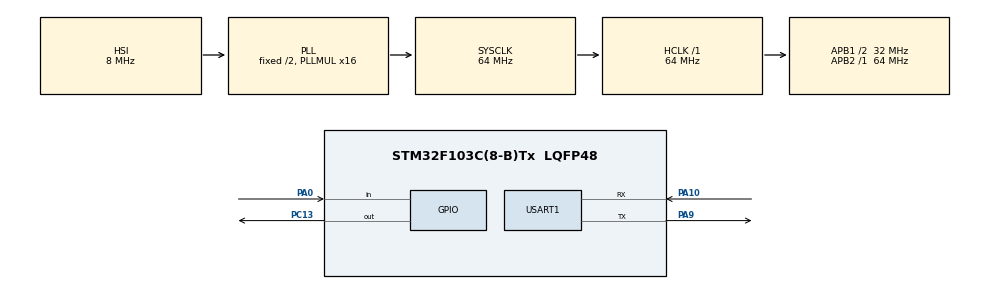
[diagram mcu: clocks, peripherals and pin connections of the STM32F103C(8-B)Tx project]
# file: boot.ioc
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Mcu.Family=STM32F1
Mcu.Name=STM32F103C(8-B)Tx
Mcu.Package=LQFP48
NVIC.PriorityGroup=NVIC_PRIORITYGROUP_4
NVIC.USART1_IRQn=true\:0\:0\:false\:false\:true\:true\:true\:true
PA0-WKUP.GPIO_PuPd=GPIO_PULLUP
PA0-WKUP.Signal=GPIO_Input
PA10.Mode=Asynchronous
PA10.Signal=USART1_RX
PA13.Mode=Serial_Wire
PA13.Signal=SYS_JTMS-SWDIO
PA14.Mode=Serial_Wire
PA14.Signal=SYS_JTCK-SWCLK
PA9.Mode=Asynchronous
PA9.Signal=USART1_TX
PC13-TAMPER-RTC.Signal=GPIO_Output
PD0-OSC_IN.Mode=HSE-External-Oscillator
PD0-OSC_IN.Signal=RCC_OSC_IN
PD1-OSC_OUT.Mode=HSE-External-Oscillator
PD1-OSC_OUT.Signal=RCC_OSC_OUT
ProjectManager.HeapSize=0x200
ProjectManager.StackSize=0x400
ProjectManager.TargetToolchain=STM32CubeIDE
RCC.AHBFreq_Value=64000000
RCC.APB1CLKDivider=RCC_HCLK_DIV2
RCC.APB1Freq_Value=32000000
RCC.APB1TimFreq_Value=64000000
RCC.APB2Freq_Value=64000000
RCC.APB2TimFreq_Value=64000000
RCC.HCLKFreq_Value=64000000
RCC.PLLMUL=RCC_PLL_MUL16
RCC.SYSCLKFreq_VALUE=64000000
RCC.SYSCLKSource=RCC_SYSCLKSOURCE_PLLCLK
RCC.USBFreq_Value=64000000
USART1.VirtualMode=VM_ASYNC
board=custom

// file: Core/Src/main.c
/* USER CODE BEGIN Header */
/**
 ******************************************************************************
 * @file           : main.c
 * @brief          : Main program body
 ******************************************************************************
 * @attention
 *
 * Copyright (c) 2023 STMicroelectronics.
 * All rights reserved.
 *
 * This software is licensed under terms that can be found in the LICENSE file
 * in the root directory of this software component.
 * If no LICENSE file comes with this software, it is provided AS-IS.
 *
 ******************************************************************************
 */
/* USER CODE END Header */
#include "main.h"

/* USER CODE BEGIN Includes */
#include "stdint.h"
/* USER CODE END Includes */

UART_HandleTypeDef huart1;

void SystemClock_Config(void);
static void MX_GPIO_Init(void);
static void MX_USART1_UART_Init(void);

/* USER CODE BEGIN 0 */
#define ADDR_APP_PROGRAM 0x8005000
typedef void (*run_app_handle)(void);
run_app_handle run_app;
void run_app_program()
{
  HAL_RCC_DeInit(); //  turn off peripharal, clear interrupt flag
  HAL_DeInit();     // clear pending interrupt request, turn off system tick
  SCB->SHCSR &= ~(SCB_SHCSR_USGFAULTENA_Msk |
                  SCB_SHCSR_BUSFAULTENA_Msk |
                  SCB_SHCSR_MEMFAULTENA_Msk);
  __set_MSP(*((volatile uint32_t *)ADDR_APP_PROGRAM));
  run_app = (run_app_handle) * ((volatile uint32_t *)(ADDR_APP_PROGRAM + 4));
  run_app();
}
/* USER CODE END 0 */

int main(void)
{

  /* MCU Configuration--------------------------------------------------------*/

  /* Reset of all peripherals, Initializes the Flash interface and the Systick. */
  HAL_Init();

  /* Configure the system clock */
  SystemClock_Config();

  /* Initialize all configured peripherals */
  MX_GPIO_Init();
  MX_USART1_UART_Init();

  /* Infinite loop */
  while (1)
  {

    /* USER CODE BEGIN 3 */
    static uint32_t t_blink;
    if (HAL_GetTick() - t_blink >= 200)
    {
      HAL_GPIO_TogglePin(GPIOC, GPIO_PIN_13);
      t_blink = HAL_GetTick();
    }
    if (HAL_GPIO_ReadPin(GPIOA, GPIO_PIN_0) == 0)
    {
      HAL_Delay(20);
      if (HAL_GPIO_ReadPin(GPIOA, GPIO_PIN_0) == 0)
      {
        run_app_program();
      }
    }
  }
  /* USER CODE END 3 */
}

void SystemClock_Config(void)
{
  RCC_OscInitTypeDef RCC_OscInitStruct = {0};
  RCC_ClkInitTypeDef RCC_ClkInitStruct = {0};

  /** Initializes the RCC Oscillators according to the specified parameters
   * in the RCC_OscInitTypeDef structure.
   */
  RCC_OscInitStruct.OscillatorType = RCC_OSCILLATORTYPE_HSI;
  RCC_OscInitStruct.HSIState = RCC_HSI_ON;
  RCC_OscInitStruct.HSICalibrationValue = RCC_HSICALIBRATION_DEFAULT;
  RCC_OscInitStruct.PLL.PLLState = RCC_PLL_ON;
  RCC_OscInitStruct.PLL.PLLSource = RCC_PLLSOURCE_HSI_DIV2;
  RCC_OscInitStruct.PLL.PLLMUL = RCC_PLL_MUL16;
  if (HAL_RCC_OscConfig(&RCC_OscInitStruct) != HAL_OK)
  {
    Error_Handler();
  }

  /** Initializes the CPU, AHB and APB buses clocks
   */
  RCC_ClkInitStruct.ClockType = RCC_CLOCKTYPE_HCLK | RCC_CLOCKTYPE_SYSCLK | RCC_CLOCKTYPE_PCLK1 | RCC_CLOCKTYPE_PCLK2;
  RCC_ClkInitStruct.SYSCLKSource = RCC_SYSCLKSOURCE_PLLCLK;
  RCC_ClkInitStruct.AHBCLKDivider = RCC_SYSCLK_DIV1;
  RCC_ClkInitStruct.APB1CLKDivider = RCC_HCLK_DIV2;
  RCC_ClkInitStruct.APB2CLKDivider = RCC_HCLK_DIV1;

  if (HAL_RCC_ClockConfig(&RCC_ClkInitStruct, FLASH_LATENCY_2) != HAL_OK)
  {
    Error_Handler();
  }
}

static void MX_USART1_UART_Init(void)
{

  huart1.Instance = USART1;
  huart1.Init.BaudRate = 115200;
  huart1.Init.WordLength = UART_WORDLENGTH_8B;
  huart1.Init.StopBits = UART_STOPBITS_1;
  huart1.Init.Parity = UART_PARITY_NONE;
  huart1.Init.Mode = UART_MODE_TX_RX;
  huart1.Init.HwFlowCtl = UART_HWCONTROL_NONE;
  huart1.Init.OverSampling = UART_OVERSAMPLING_16;
  if (HAL_UART_Init(&huart1) != HAL_OK)
  {
    Error_Handler();
  }
}

static void MX_GPIO_Init(void)
{
  GPIO_InitTypeDef GPIO_InitStruct = {0};

  /* GPIO Ports Clock Enable */
  __HAL_RCC_GPIOC_CLK_ENABLE();
  __HAL_RCC_GPIOD_CLK_ENABLE();
  __HAL_RCC_GPIOA_CLK_ENABLE();

  /*Configure GPIO pin Output Level */
  HAL_GPIO_WritePin(GPIOC, GPIO_PIN_13, GPIO_PIN_RESET);

  /*Configure GPIO pin : PC13 */
  GPIO_InitStruct.Pin = GPIO_PIN_13;
  GPIO_InitStruct.Mode = GPIO_MODE_OUTPUT_PP;
  GPIO_InitStruct.Pull = GPIO_NOPULL;
  GPIO_InitStruct.Speed = GPIO_SPEED_FREQ_LOW;
  HAL_GPIO_Init(GPIOC, &GPIO_InitStruct);

  /*Configure GPIO pin : PA0 */
  GPIO_InitStruct.Pin = GPIO_PIN_0;
  GPIO_InitStruct.Mode = GPIO_MODE_INPUT;
  GPIO_InitStruct.Pull = GPIO_PULLUP;
  HAL_GPIO_Init(GPIOA, &GPIO_InitStruct);

}

void Error_Handler(void)
{
  __disable_irq();
  while (1)
  {
  }
}
